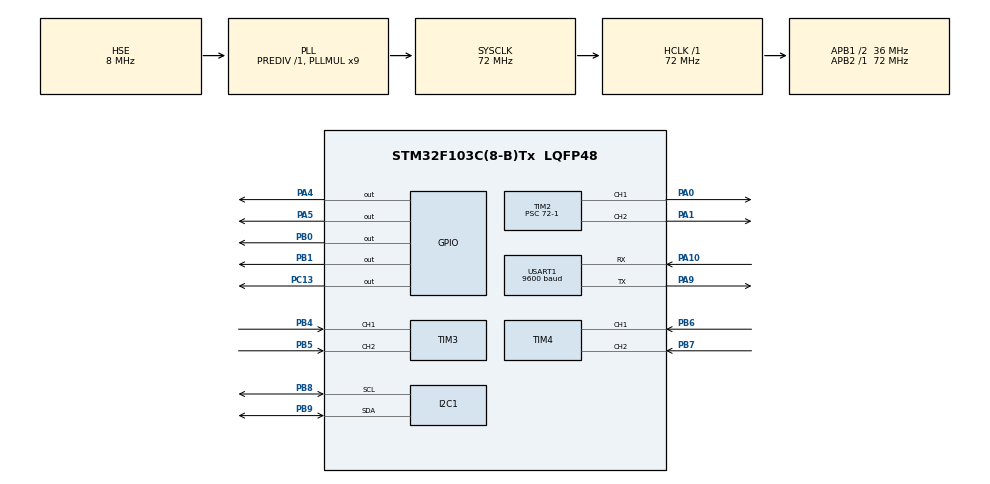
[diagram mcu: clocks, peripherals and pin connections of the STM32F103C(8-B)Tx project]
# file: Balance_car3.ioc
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Mcu.Family=STM32F1
Mcu.Name=STM32F103C(8-B)Tx
Mcu.Package=LQFP48
NVIC.PriorityGroup=NVIC_PRIORITYGROUP_4
NVIC.TIM1_UP_IRQn=true\:0\:0\:false\:false\:true\:true\:true\:true
NVIC.USART1_IRQn=true\:0\:0\:false\:false\:true\:true\:true\:true
PA0-WKUP.Signal=S_TIM2_CH1_ETR
PA1.Signal=S_TIM2_CH2
PA10.Mode=Asynchronous
PA10.Signal=USART1_RX
PA13.Mode=Serial_Wire
PA13.Signal=SYS_JTMS-SWDIO
PA14.Mode=Serial_Wire
PA14.Signal=SYS_JTCK-SWCLK
PA4.Signal=GPIO_Output
PA5.Signal=GPIO_Output
PA9.Mode=Asynchronous
PA9.Signal=USART1_TX
PB0.Signal=GPIO_Output
PB1.Signal=GPIO_Output
PB4.GPIO_PuPd=GPIO_PULLUP
PB4.Signal=S_TIM3_CH1
PB5.GPIO_PuPd=GPIO_PULLUP
PB5.Signal=S_TIM3_CH2
PB6.GPIO_PuPd=GPIO_PULLUP
PB6.Signal=S_TIM4_CH1
PB7.GPIO_PuPd=GPIO_PULLUP
PB7.Signal=S_TIM4_CH2
PB8.Mode=I2C
PB8.Signal=I2C1_SCL
PB9.Mode=I2C
PB9.Signal=I2C1_SDA
PC13-TAMPER-RTC.Signal=GPIO_Output
PD0-OSC_IN.Mode=HSE-External-Oscillator
PD0-OSC_IN.Signal=RCC_OSC_IN
PD1-OSC_OUT.Mode=HSE-External-Oscillator
PD1-OSC_OUT.Signal=RCC_OSC_OUT
ProjectManager.HeapSize=0x200
ProjectManager.StackSize=0x400
ProjectManager.TargetToolchain=STM32CubeIDE
RCC.AHBFreq_Value=72000000
RCC.APB1CLKDivider=RCC_HCLK_DIV2
RCC.APB1Freq_Value=36000000
RCC.APB1TimFreq_Value=72000000
RCC.APB2Freq_Value=72000000
RCC.APB2TimFreq_Value=72000000
RCC.HCLKFreq_Value=72000000
RCC.PLLMUL=RCC_PLL_MUL9
RCC.PLLSourceVirtual=RCC_PLLSOURCE_HSE
RCC.SYSCLKFreq_VALUE=72000000
RCC.SYSCLKSource=RCC_SYSCLKSOURCE_PLLCLK
RCC.USBFreq_Value=72000000
SH.S_TIM2_CH1_ETR.0=TIM2_CH1,PWM Generation1 CH1
SH.S_TIM2_CH2.0=TIM2_CH2,PWM Generation2 CH2
SH.S_TIM3_CH1.0=TIM3_CH1,Encoder_Interface
SH.S_TIM3_CH2.0=TIM3_CH2,Encoder_Interface
SH.S_TIM4_CH1.0=TIM4_CH1,Encoder_Interface
SH.S_TIM4_CH2.0=TIM4_CH2,Encoder_Interface
TIM1.Period=9999
TIM1.Prescaler=71
TIM2.Channel-PWM\ Generation1\ CH1=TIM_CHANNEL_1
TIM2.Channel-PWM\ Generation2\ CH2=TIM_CHANNEL_2
TIM2.Period=1000-1
TIM2.Prescaler=72-1
USART1.BaudRate=9600
USART1.VirtualMode=VM_ASYNC
VP_TIM1_VS_ClockSourceINT.Mode=Internal
board=custom

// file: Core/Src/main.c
/* USER CODE BEGIN Header */
/**
  ******************************************************************************
  * @file           : main.c
  * @brief          : Main program body
  ******************************************************************************
  * @attention
  *
  * Copyright (c) 2026 STMicroelectronics.
  * All rights reserved.
  *
  * This software is licensed under terms that can be found in the LICENSE file
  * in the root directory of this software component.
  * If no LICENSE file comes with this software, it is provided AS-IS.
  *
  ******************************************************************************
  */
/* USER CODE END Header */
#include "main.h"
#include "i2c.h"
#include "tim.h"
#include "usart.h"
#include "gpio.h"

/* USER CODE BEGIN Includes */
#include <stdio.h>
#include "motor.h"
#include "encoder.h"
#include "mpu6050.h"
#include "string.h"
#include "bluetooth.h"
#include "pid.h"
#include "control.h"

/* USER CODE END Includes */

void SystemClock_Config(void);

/* USER CODE BEGIN 0 */

volatile uint8_t ctrl_flag = 0;

/* USER CODE END 0 */

int main(void)
{

  /* MCU Configuration--------------------------------------------------------*/

  /* Reset of all peripherals, Initializes the Flash interface and the Systick. */
  HAL_Init();

  /* Configure the system clock */
  SystemClock_Config();

  /* Initialize all configured peripherals */
  MX_GPIO_Init();
  MX_I2C1_Init();
  MX_TIM2_Init();
  MX_TIM3_Init();
  MX_TIM4_Init();
  MX_USART1_UART_Init();
  MX_TIM1_Init();
  /* USER CODE BEGIN 2 */

  // 1. 点亮小蓝板绿色指示灯
   HAL_GPIO_WritePin(GPIOC, GPIO_PIN_13, GPIO_PIN_RESET);

    // 2. 依次唤醒三大器官 (顺序不能乱)
   MPU6050_Init();    // 唤醒小脑
   Encoder_Init();    // 唤醒测速神经
   Motor_Init();
   HAL_TIM_Base_Start_IT(&htim1);
   Control_Init();
   BT_RxStart();
   HAL_Delay(500);                  /* 等传感器上电稳定 */
   MPU6050_CalibrateZero();

  /* USER CODE END 2 */

  /* USER CODE BEGIN WHILE */

   uint32_t last_send   = 0;
   uint32_t last_speed = 0;
   uint32_t last_ctrl_tick = HAL_GetTick();

	    while (1)
   {

	    	/* 5ms：直立环（TIM1 ctrl_flag 触发） */
	    	    if (ctrl_flag)
	    	    {
	    	        ctrl_flag = 0;
	    	        uint32_t now = HAL_GetTick();
	    	        float dt = (now - last_ctrl_tick) * 0.001f;
	    	        last_ctrl_tick = now;

	    	        if (dt < 0.001f) dt = 0.001f;   /* 限幅 */
	    	        if (dt > 0.020f) dt = 0.020f;

	    	        Control_BalanceLoop(dt);
	    	    }
	    	    /* 50ms：速度环 */
	    	    if (HAL_GetTick() - last_speed >= 50)
	    	    {
	    	        last_speed = HAL_GetTick();
	    	        Control_SpeedLoop(0.05f);
	    	    }
	    	    /* 50ms：蓝牙发送 */
	    	    if (HAL_GetTick() - last_send >= 50)
	    	    {
	    	        last_send = HAL_GetTick();
	    	        printf("%.2f,%.2f,%.0f,%.2f,%d,%d\r\n",
	    	               MPU_Pitch, MPU_Roll,
	    	               (double)Control_GetBalanceOut(), (double)Control_GetAngleCmd(),
	    	               (int)enc_left_speed, (int)enc_right_speed);
	    	    }

    /* USER CODE END WHILE */

  }
}

void SystemClock_Config(void)
{
  RCC_OscInitTypeDef RCC_OscInitStruct = {0};
  RCC_ClkInitTypeDef RCC_ClkInitStruct = {0};

  /** Initializes the RCC Oscillators according to the specified parameters
  * in the RCC_OscInitTypeDef structure.
  */
  RCC_OscInitStruct.OscillatorType = RCC_OSCILLATORTYPE_HSE;
  RCC_OscInitStruct.HSEState = RCC_HSE_ON;
  RCC_OscInitStruct.HSEPredivValue = RCC_HSE_PREDIV_DIV1;
  RCC_OscInitStruct.HSIState = RCC_HSI_ON;
  RCC_OscInitStruct.PLL.PLLState = RCC_PLL_ON;
  RCC_OscInitStruct.PLL.PLLSource = RCC_PLLSOURCE_HSE;
  RCC_OscInitStruct.PLL.PLLMUL = RCC_PLL_MUL9;
  if (HAL_RCC_OscConfig(&RCC_OscInitStruct) != HAL_OK)
  {
    Error_Handler();
  }

  /** Initializes the CPU, AHB and APB buses clocks
  */
  RCC_ClkInitStruct.ClockType = RCC_CLOCKTYPE_HCLK|RCC_CLOCKTYPE_SYSCLK
                              |RCC_CLOCKTYPE_PCLK1|RCC_CLOCKTYPE_PCLK2;
  RCC_ClkInitStruct.SYSCLKSource = RCC_SYSCLKSOURCE_PLLCLK;
  RCC_ClkInitStruct.AHBCLKDivider = RCC_SYSCLK_DIV1;
  RCC_ClkInitStruct.APB1CLKDivider = RCC_HCLK_DIV2;
  RCC_ClkInitStruct.APB2CLKDivider = RCC_HCLK_DIV1;

  if (HAL_RCC_ClockConfig(&RCC_ClkInitStruct, FLASH_LATENCY_2) != HAL_OK)
  {
    Error_Handler();
  }
}

/* USER CODE BEGIN 4 */
void HAL_TIM_PeriodElapsedCallback(TIM_HandleTypeDef *htim)
{
    if (htim->Instance == TIM1) {

    	ctrl_flag = 1;

    }
}
/* USER CODE END 4 */

void Error_Handler(void)
{
  __disable_irq();
  while (1)
  {
  }
}
